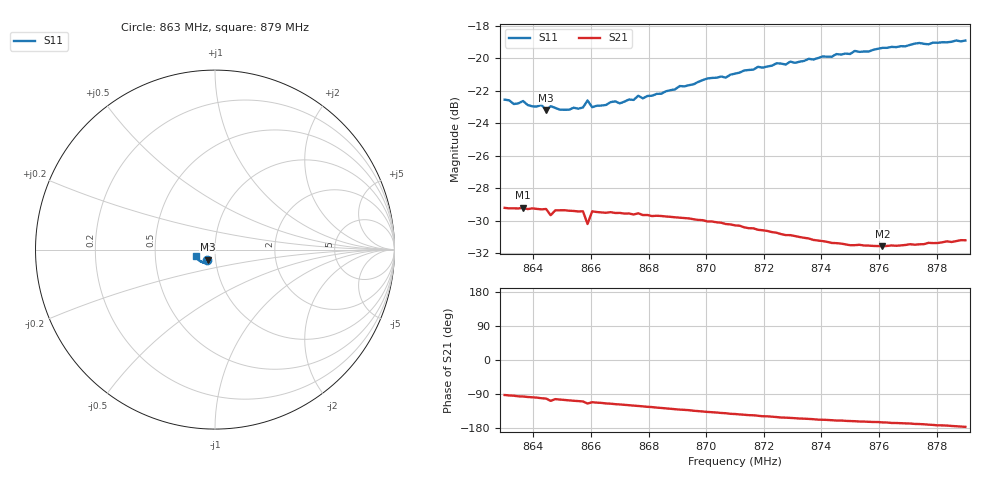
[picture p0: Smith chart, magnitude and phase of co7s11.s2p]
# HZ S RI R 50
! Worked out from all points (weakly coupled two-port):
!   101 points, 863 MHz to 879 MHz, reference 50 ohm
!   highest |S21| = -29.19 dB at 863.64 MHz (marker M1); lowest = -31.6 dB at 876.12 MHz (marker M2)
!   lowest |S11| = -23.2 dB at 864.44 MHz (marker M3), VSWR 1.15, Z = 45.9 - j5.22 ohm
!   |S11| at or under -10 dB: start of sweep to end of sweep
!   S12 and S22 are empty: the file has one direction only
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8.63e8  -0.0468 -0.0581  -0.00147 -0.0346  0 0  0 0
8.6332e8  -0.0427 -0.0584  -0.00257 -0.0345  0 0  0 0
8.6364e8  -0.0444 -0.0591  -0.00379 -0.0345  0 0  0 0
8.6396e8  -0.0415 -0.0578  -0.00505 -0.0342  0 0  0 0
8.6428e8  -0.0413 -0.0589  -0.00648 -0.0337  0 0  0 0
8.6444e8  -0.0398 -0.0567  -0.00698 -0.0337  0 0  0 0
8.646e8  -0.0409 -0.0583  -0.0101 -0.0313  0 0  0 0
8.6476e8  -0.0409 -0.0572  -0.0078 -0.0332  0 0  0 0
8.6572e8  -0.0372 -0.06  -0.0113 -0.0319  0 0  0 0
8.6588e8  -0.042 -0.0612  -0.013 -0.0281  0 0  0 0
8.6604e8  -0.0372 -0.0601  -0.0123 -0.0315  0 0  0 0
8.6748e8  -0.0369 -0.0647  -0.0167 -0.0286  0 0  0 0
8.6764e8  -0.0392 -0.0659  -0.0174 -0.0285  0 0  0 0
8.678e8  -0.0383 -0.0648  -0.0176 -0.0278  0 0  0 0
8.6844e8  -0.0401 -0.0666  -0.0195 -0.0263  0 0  0 0
8.7004e8  -0.0483 -0.072  -0.023 -0.0215  0 0  0 0
8.71e8  -0.053 -0.0723  -0.0243 -0.0186  0 0  0 0
8.7244e8  -0.064 -0.0722  -0.0253 -0.0143  0 0  0 0
8.7372e8  -0.0712 -0.069  -0.0253 -0.0112  0 0  0 0
8.7612e8  -0.09 -0.059  -0.0255 -0.00701  0 0  0 0
8.7644e8  -0.0916 -0.0579  -0.0258 -0.00637  0 0  0 0
8.79e8  -0.1076 -0.0356  -0.0275 -0.00171  0 0  0 0
